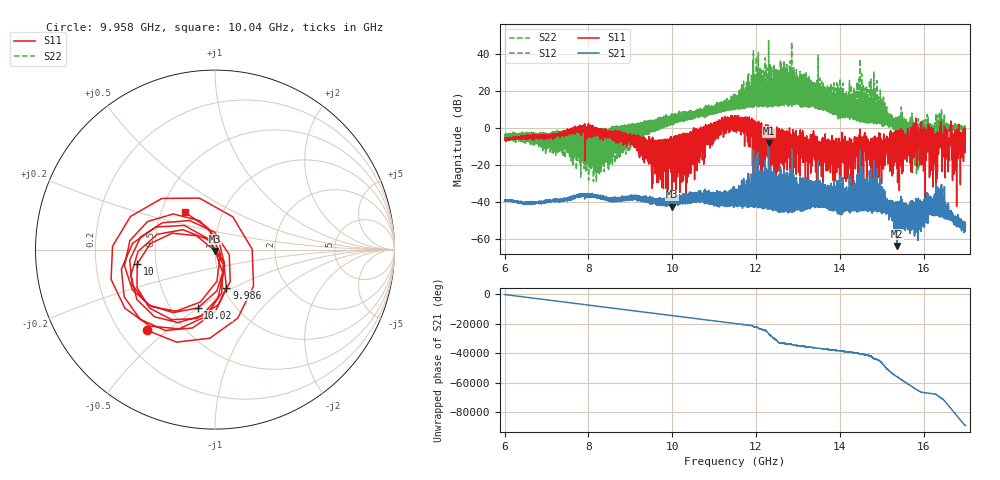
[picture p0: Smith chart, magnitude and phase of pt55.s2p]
#  HZ  S  RI  R  50.00
! Rohde & Schwarz Vector Network Analyzer
! Rohde-Schwarz,ZNA67-2Port,1332450062101215,3.01
! Created: UTC 10/16/2026, 10:22:08 AM
! freq[Hz]  re:S11  im:S11  re:S21  im:S21  re:S12  im:S12  re:S22  im:S22
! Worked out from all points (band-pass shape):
!   11001 points, 6 GHz to 17 GHz, reference 50 ohm
!   highest |S21| = -8.10 dB at 12.3 GHz (marker M1); lowest = -63.6 dB at 15.37 GHz (marker M2)
!   |S21| within 3 dB of the highest: 12.3029 GHz to 12.3031 GHz (203.6 kHz wide, 0.00166 % of centre)
!   lowest |S11| = -42.4 dB at 9.999 GHz (marker M3), VSWR 1.02, Z = 50.1 - j0.755 ohm
!   |S11| at or under -10 dB: 13.60941 GHz to 13.63773 GHz (28.32 MHz wide, 0.208 % of centre); 14.14714 GHz to 14.17348 GHz (26.35 MHz wide, 0.186 % of centre); 14.71218 GHz to 14.74059 GHz (28.42 MHz wide, 0.193 % of centre) (the widest 3 of 458)
!   |S22| runs from -28.8 to 47.5 dB; largest |S21 - S12| = 0.021
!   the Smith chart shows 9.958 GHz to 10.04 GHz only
!   S11 on the Smith chart (normalised r, x): 9.958 GHz: 0.31, -0.42; 9.986 GHz: 1.03, -0.46; 10 GHz: 0.39, -0.08; 10.02 GHz: 0.68, -0.50; 10.04 GHz: 0.66, +0.30
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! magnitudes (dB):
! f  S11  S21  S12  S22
! 6 GHz  -5.7  -39.3  -39.3  -4.8
! 7.834 GHz  -0.3  -35.5  -35.3  -2.2
! 9.667 GHz  -6.3  -39.3  -39.5  4.8
! 9.958 GHz  -4.6  -40.5  -40.6  4.7
! 9.986 GHz  -13.1  -37.9  -37.9  7.2
! 9.999 GHz  -42.4  -38.1  -38.3  4.0
! 10 GHz  -7.1  -40.6  -40.7  2.8
! 10.02 GHz  -9.4  -38.9  -39.0  6.4
! 10.04 GHz  -11.4  -39.0  -39.1  3.5
! 11.5 GHz  6.7  -40.2  -40.1  11.6
! 12.3 GHz  -9.8  -8.1  -8.1  47.5
! 13.33 GHz  -9.8  -40.2  -40.0  14.5
! 14.15 GHz  -17.8  -44.0  -43.9  6.3
! 14.45 GHz  -9.5  -44.0  -44.0  4.3
! 15.17 GHz  -10.3  -42.2  -42.3  7.2
! 15.37 GHz  -21.6  -63.6  -63.7  -0.3
! 15.68 GHz  -8.5  -51.4  -51.2  -5.6
! 15.8 GHz  -4.5  -42.9  -42.9  -5.3
! 16.13 GHz  -4.0  -43.0  -42.9  -5.1
! 16.69 GHz  -18.2  -49.1  -49.4  -1.2
! 16.74 GHz  -1.7  -50.7  -50.6  0.1
! 17 GHz  -0.1  -52.7  -52.5  0.1
